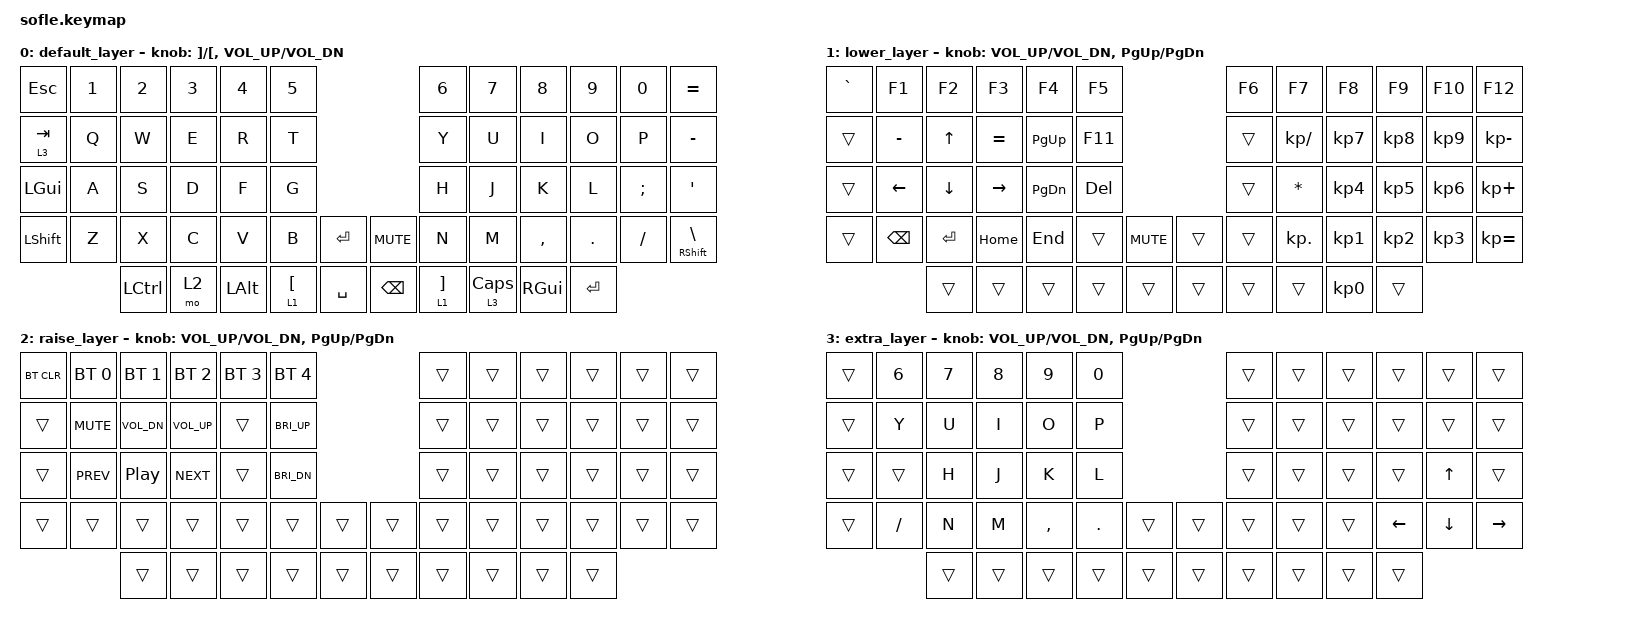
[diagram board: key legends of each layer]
/*
 * Copyright (c) 2020 The ZMK Contributors
 *
 * SPDX-License-Identifier: MIT
 */

#include <behaviors.dtsi>
#include <dt-bindings/zmk/keys.h>
#include <dt-bindings/zmk/bt.h>

/ {
    keymap {
        compatible = "zmk,keymap";

        default_layer {
// ------------------------------------------------------------------------------------------------------------
// |  ESC  |  1  |  2  |  3   |  4   |  5   |                   |  6   |  7    |  8    |  9   |   0   |   =   |
// |TAB(3) |  Q  |  W  |  E   |  R   |  T   |                   |  Y   |  U    |  I    |  O   |   P   |   -   |
// |  GUI  |  A  |  S  |  D   |  F   |  G   |                   |  H   |  J    |  K    |  L   |   ;   |   '   |
// | SHIFT |  Z  |  X  |  C   |  V   |  B   |  ENTER  |  | MUTE |  N   |  M    |  ,    |  .   |   /   |SHIFT(\)|
//               | CTRL| MO(2)| ALT  |LOWER([)| SPACE |  | BKSPC |LOWER(])| GLOBE/CAPS(3)  | GUI   | ENTER  |
            bindings = <
&kp ESC    &kp N1 &kp N2   &kp N3   &kp N4    &kp N5                                  &kp N6      &kp N7    &kp N8    &kp N9   &kp N0    &kp EQUAL
&lt 3 TAB  &kp Q  &kp W    &kp E    &kp R     &kp T                                   &kp Y       &kp U     &kp I     &kp O    &kp P     &kp MINUS
&kp LGUI   &kp A  &kp S    &kp D    &kp F     &kp G                                   &kp H       &kp J     &kp K     &kp L    &kp SEMI  &kp SQT
&kp LSHFT  &kp Z  &kp X    &kp C    &kp V     &kp B       &kp ENTER   &kp C_MUTE      &kp N       &kp M     &kp COMMA &kp DOT  &kp FSLH  &mt RSHFT BSLH
                  &kp LCTRL &mo 2    &kp LALT  &lt 1 LBKT  &kp SPACE   &kp BSPC        &lt 1 RBKT  &lt 3 CAPS  &kp RGUI  &kp ENTER
            >;

            sensor-bindings = <&inc_dec_kp RBKT LBKT &inc_dec_kp C_VOL_UP C_VOL_DN>;
        };

        lower_layer {
// TODO: Some binds are waiting for shifted keycode support.
// ------------------------------------------------------------------------------------------------------------
// | `     |  F1 |  F2 |  F3  |  F4  |  F5  |                   |  F6  |  F7   |  F8   |  F9  |  F10  |  F12  |
// |       |  -  |  UP |   =  | PGUP |  F11 |                   |      |   /   |   7   |   8  |    9  |   -   |
// |       |LEFT | DOWN| RIGHT| PGDN |DELETE|                   |      |  *    |  4    |  5   |   6   |   +   |
// |       |BKSP |ENTER| HOME | END  |      | MUTE   |  |       |      |  .    |  1    |  2   |   3   |   =   |
//               |     | CAPS |      |      |        |  |       |      |       |   0    |     |
            bindings = <
&kp GRAVE &kp F1     &kp F2    &kp F3      &kp F4    &kp F5                           &kp F6    &kp F7        &kp F8     &kp F9     &kp F10    &kp F12
&trans    &kp MINUS  &kp UP    &kp EQUAL   &kp PG_UP &kp F11                          &trans    &kp KP_SLASH  &kp KP_N7  &kp KP_N8  &kp KP_N9  &kp KP_MINUS
&trans    &kp LEFT   &kp DOWN  &kp RIGHT   &kp PG_DN &kp DELETE                       &trans    &kp STAR      &kp KP_N4  &kp KP_N5  &kp KP_N6  &kp KP_PLUS
&trans    &kp BSPC   &kp ENTER &kp HOME    &kp END   &trans      &kp C_MUTE    &trans &trans    &kp KP_DOT    &kp KP_N1  &kp KP_N2  &kp KP_N3  &kp KP_EQUAL
                     &trans    &trans      &trans    &trans      &trans        &trans &trans    &trans        &kp KP_N0  &trans
            >;

            sensor-bindings = <&inc_dec_kp C_VOL_UP C_VOL_DN &inc_dec_kp PG_UP PG_DN>;
        };

        raise_layer {
// ------------------------------------------------------------------------------------------------------------
// |BTCLR| BT1  | BT2  |  BT3  |  BT4  |  BT5 |                |      |      |       |      |       |       |
// |     | MUTE  | VOL- | VOL+ |       |BRI_UP|                |      |      |       |      |       |       |
// |     | PREV  | PLAY | NEXT |       |BRI_DN|                |      |      |       |      |       |       |
// |     |      |      |       |       |      |      |  |      |      |      |       |      |       |       |
//              |      |       |       |      |      |  |      |      |      |       |      |
            bindings = <
&bt BT_CLR &bt BT_SEL 0 &bt BT_SEL 1 &bt BT_SEL 2 &bt BT_SEL 3 &bt BT_SEL 4                   &trans    &trans    &trans   &trans    &trans  &trans
&trans     &kp C_MUTE    &kp C_VOL_DN &kp C_VOL_UP &trans       &kp C_BRI_UP                   &trans    &trans    &trans   &trans    &trans  &trans
&trans     &kp C_PREV   &kp C_PP     &kp C_NEXT   &trans       &kp C_BRI_DN                   &trans    &trans    &trans   &trans    &trans  &trans
&trans     &trans       &trans       &trans       &trans       &trans        &trans   &trans  &trans    &trans    &trans   &trans    &trans  &trans
                        &trans       &trans       &trans       &trans        &trans   &trans  &trans    &trans    &trans   &trans
            >;

            sensor-bindings = <&inc_dec_kp C_VOL_UP C_VOL_DN &inc_dec_kp PG_UP PG_DN>;
        };
        
        extra_layer {
// ------------------------------------------------------------------------------------------------------------
// |     | 6  | 7  |  8  |  9  |  0 |                |      |      |       |      |       |       |
// |     | Y  | U  | I   |  O  | P  |                |      |      |       |      |       |       |
// |     |    | H  | J   |  K  | L  |                |      |      |       |      |  UP   |       |
// |     | /? | N  |  M  |  ,  |  . |      |  |      |      |      |       |LEFT  | DOWN  |RIGHT  |
//            |    |     |     |    |      |  |      |      |      |       |      |
            bindings = <
&trans     &kp N6   &kp N7  &kp N8 &kp N9     &kp N0                       &trans    &trans    &trans   &trans    &trans  &trans
&trans     &kp Y    &kp U   &kp I  &kp O      &kp P                        &trans    &trans    &trans   &trans    &trans  &trans
&trans     &trans   &kp H   &kp J  &kp K      &kp L                        &trans    &trans    &trans   &trans    &kp UP  &trans
&trans     &kp FSLH &kp N   &kp M  &kp COMMA  &kp PERIOD  &trans   &trans  &trans    &trans    &trans   &kp LEFT   &kp DOWN  &kp RIGHT
                    &trans  &trans &trans     &trans      &trans   &trans  &trans    &trans    &trans   &trans
            >;

            sensor-bindings = <&inc_dec_kp C_VOL_UP C_VOL_DN &inc_dec_kp PG_UP PG_DN>;
            };
    };
};
